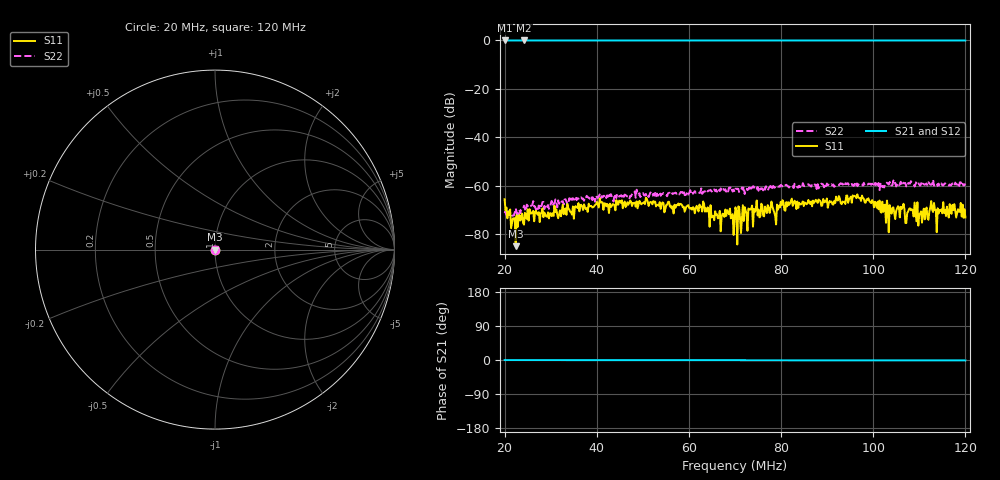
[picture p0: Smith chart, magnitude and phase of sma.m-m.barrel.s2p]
! Anritsu VNA Master:  Model: MS2036C/10/77
! SN:  1601066
! /bd0/18may23.rg316.s11.pre.field/sma.m-m.barrel.s2p
! Existing Calibration Information:
! TYPE:  Current Settings,  Active Cal Settings
! TIME:  05/23/2018 12:33:08 PM,  05/23/2018 12:26:34 PM
! INTERNAL TEMP:  48.3 C,  48.0 C
! # POINTS:  500,  500
! START FREQ:  20.000 MHz,  20.000 MHz
! STOP FREQ:  120.000 MHz,  120.000 MHz
! SOURCE POWER:  High,  High
! IFBW:  50 Hz,  50 Hz
! AVG FACTOR:  1 ,  1
! REF PLANE 1:  0 mm,  0 mm
! REF PLANE 2:  0 mm,  0 mm
! CAL TYPE:  Full 2 Port,  Full 2 Port
! CAL METHOD:  SOLT,  SOLT
! CAL LINE TYPE:  Coax,  Coax
! DUT PORT 1:  K-Conn(M),  K-Conn(M)
! DUT PORT 2:  K-Conn(M),  K-Conn(M)
! CAL STATUS:  OK: Accuracy High,  --
# GHZ S DB R 50.0
! FREQ.GHZ  S11DB  S11A  S21DB  S21A  S12DB  S12A  S22DB  S22A
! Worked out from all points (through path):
!   500 points, 20 MHz to 120 MHz, reference 50 ohm
!   highest |S21| = 0.01 dB at 20 MHz (marker M1); lowest = 0.0 dB at 24.21 MHz (marker M2)
!   lowest |S11| = -85.0 dB at 22.4 MHz (marker M3), VSWR 1.00, Z = 50 - j0.00288 ohm
!   |S11| at or under -10 dB: start of sweep to end of sweep
!   |S22| runs from -73.8 to -57.5 dB; largest |S21 - S12| = 0.001
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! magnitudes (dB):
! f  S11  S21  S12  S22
! 20 MHz  -65.6  0.0  0.0  -71.3
! 22.4 MHz  -85.0  0.0  0.0  -69.3
! 24.21 MHz  -76.0  0.0  0.0  -68.2
! 36.83 MHz  -68.6  0.0  0.0  -65.3
! 53.47 MHz  -68.3  0.0  0.0  -62.8
! 62.89 MHz  -70.7  0.0  0.0  -63.4
! 70.1 MHz  -68.9  0.0  0.0  -61.2
! 70.5 MHz  -84.3  0.0  0.0  -61.2
! 73.31 MHz  -69.8  0.0  0.0  -62.1
! 78.52 MHz  -71.0  0.0  0.0  -60.9
! 80.12 MHz  -68.1  0.0  0.0  -59.9
! 86.73 MHz  -68.5  0.0  0.0  -59.4
! 96.15 MHz  -64.5  0.0  0.0  -59.6
! 103.4 MHz  -79.2  0.0  0.0  -59.5
! 106.4 MHz  -68.9  0.0  0.0  -58.5
! 107.2 MHz  -75.4  0.0  0.0  -60.3
! 108.2 MHz  -70.1  0.0  0.0  -58.1
! 110.2 MHz  -71.4  0.0  0.0  -60.0
! 112.8 MHz  -69.9  0.0  0.0  -59.3
! 113.8 MHz  -79.2  0.0  0.0  -59.1
! 117.4 MHz  -70.0  0.0  0.0  -59.6
! 120 MHz  -73.1  0.0  0.0  -59.1
